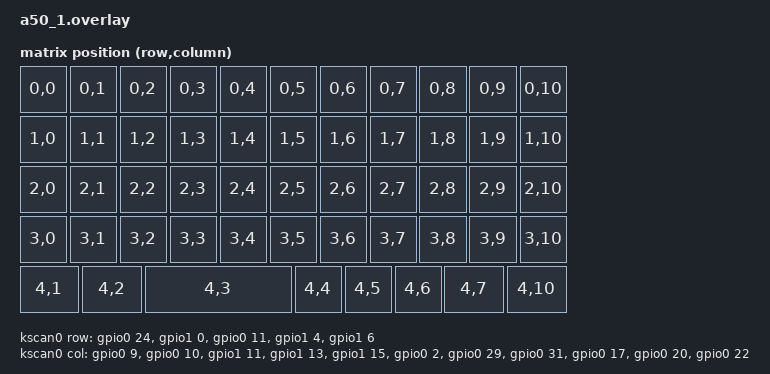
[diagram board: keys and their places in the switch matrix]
/*
 * SPDX-License-Identifier: MIT
 */

#include <dt-bindings/zmk/matrix_transform.h>
#include <physical_layouts.dtsi>

/ {
    chosen {
        zmk,kscan = &kscan0;
        zmk,physical-layout = &a50_1_layout;
    };

    default_transform: keymap_transform_0 {
        compatible = "zmk,matrix-transform";
        columns = <11>;
        rows = <5>;
        map = <
            RC(0,0) RC(0,1) RC(0,2) RC(0,3) RC(0,4) RC(0,5) RC(0,6) RC(0,7) RC(0,8) RC(0,9) RC(0,10)
            RC(1,0) RC(1,1) RC(1,2) RC(1,3) RC(1,4) RC(1,5) RC(1,6) RC(1,7) RC(1,8) RC(1,9) RC(1,10)
            RC(2,0) RC(2,1) RC(2,2) RC(2,3) RC(2,4) RC(2,5) RC(2,6) RC(2,7) RC(2,8) RC(2,9) RC(2,10)
            RC(3,0) RC(3,1) RC(3,2) RC(3,3) RC(3,4) RC(3,5) RC(3,6) RC(3,7) RC(3,8) RC(3,9) RC(3,10)
                    RC(4,1) RC(4,2) RC(4,3) RC(4,4) RC(4,5) RC(4,6) RC(4,7)                 RC(4,10)
        >;
    };

    a50_1_layout: a50_1_layout {
        compatible = "zmk,physical-layout";
        display-name = "A50-1";
        transform = <&default_transform>;

        keys
            = <&key_physical_attrs 100 100    0    0       0     0     0>
            , <&key_physical_attrs 100 100  100    0       0     0     0>
            , <&key_physical_attrs 100 100  200    0       0     0     0>
            , <&key_physical_attrs 100 100  300    0       0     0     0>
            , <&key_physical_attrs 100 100  400    0       0     0     0>
            , <&key_physical_attrs 100 100  500    0       0     0     0>
            , <&key_physical_attrs 100 100  600    0       0     0     0>
            , <&key_physical_attrs 100 100  700    0       0     0     0>
            , <&key_physical_attrs 100 100  800    0       0     0     0>
            , <&key_physical_attrs 100 100  900    0       0     0     0>
            , <&key_physical_attrs 100 100 1000    0       0     0     0>

            , <&key_physical_attrs 100 100    0  100       0     0     0>
            , <&key_physical_attrs 100 100  100  100       0     0     0>
            , <&key_physical_attrs 100 100  200  100       0     0     0>
            , <&key_physical_attrs 100 100  300  100       0     0     0>
            , <&key_physical_attrs 100 100  400  100       0     0     0>
            , <&key_physical_attrs 100 100  500  100       0     0     0>
            , <&key_physical_attrs 100 100  600  100       0     0     0>
            , <&key_physical_attrs 100 100  700  100       0     0     0>
            , <&key_physical_attrs 100 100  800  100       0     0     0>
            , <&key_physical_attrs 100 100  900  100       0     0     0>
            , <&key_physical_attrs 100 100 1000  100       0     0     0>

            , <&key_physical_attrs 100 100    0  200       0     0     0>
            , <&key_physical_attrs 100 100  100  200       0     0     0>
            , <&key_physical_attrs 100 100  200  200       0     0     0>
            , <&key_physical_attrs 100 100  300  200       0     0     0>
            , <&key_physical_attrs 100 100  400  200       0     0     0>
            , <&key_physical_attrs 100 100  500  200       0     0     0>
            , <&key_physical_attrs 100 100  600  200       0     0     0>
            , <&key_physical_attrs 100 100  700  200       0     0     0>
            , <&key_physical_attrs 100 100  800  200       0     0     0>
            , <&key_physical_attrs 100 100  900  200       0     0     0>
            , <&key_physical_attrs 100 100 1000  200       0     0     0>

            , <&key_physical_attrs 100 100    0  300       0     0     0>
            , <&key_physical_attrs 100 100  100  300       0     0     0>
            , <&key_physical_attrs 100 100  200  300       0     0     0>
            , <&key_physical_attrs 100 100  300  300       0     0     0>
            , <&key_physical_attrs 100 100  400  300       0     0     0>
            , <&key_physical_attrs 100 100  500  300       0     0     0>
            , <&key_physical_attrs 100 100  600  300       0     0     0>
            , <&key_physical_attrs 100 100  700  300       0     0     0>
            , <&key_physical_attrs 100 100  800  300       0     0     0>
            , <&key_physical_attrs 100 100  900  300       0     0     0>
            , <&key_physical_attrs 100 100 1000  300       0     0     0>

            , <&key_physical_attrs 125 100    0  400       0     0     0>
            , <&key_physical_attrs 125 100  125  400       0     0     0>
            , <&key_physical_attrs 300 100  250  400       0     0     0>
            , <&key_physical_attrs 100 100  550  400       0     0     0>
            , <&key_physical_attrs 100 100  650  400       0     0     0>
            , <&key_physical_attrs 100 100  750  400       0     0     0>
            , <&key_physical_attrs 125 100  850  400       0     0     0>
            , <&key_physical_attrs 125 100  975  400       0     0     0>
            ;
    };

    kscan0: kscan {
        compatible = "zmk,kscan-gpio-matrix";
        wakeup-source;

        diode-direction = "row2col";
        row-gpios
            = <&gpio0 24 (GPIO_ACTIVE_HIGH | GPIO_PULL_DOWN)> /* P0.24 */
            , <&gpio1 0 (GPIO_ACTIVE_HIGH | GPIO_PULL_DOWN)>  /* P1.00 */
            , <&gpio0 11 (GPIO_ACTIVE_HIGH | GPIO_PULL_DOWN)> /* P0.11 */
            , <&gpio1 4 (GPIO_ACTIVE_HIGH | GPIO_PULL_DOWN)>  /* P1.04 */
            , <&gpio1 6 (GPIO_ACTIVE_HIGH | GPIO_PULL_DOWN)>  /* P1.06 */
            ;
        col-gpios
            = <&gpio0 9 GPIO_ACTIVE_HIGH>   /* P0.09 */
            , <&gpio0 10 GPIO_ACTIVE_HIGH>  /* P0.10 */
            , <&gpio1 11 GPIO_ACTIVE_HIGH>  /* P1.11 */
            , <&gpio1 13 GPIO_ACTIVE_HIGH>  /* P1.13 */
            , <&gpio1 15 GPIO_ACTIVE_HIGH>  /* P1.15 */
            , <&gpio0 2 GPIO_ACTIVE_HIGH>   /* P0.02 */
            , <&gpio0 29 GPIO_ACTIVE_HIGH>  /* P0.29 */
            , <&gpio0 31 GPIO_ACTIVE_HIGH>  /* P0.31 */
            , <&gpio0 17 GPIO_ACTIVE_HIGH>  /* P0.17 */
            , <&gpio0 20 GPIO_ACTIVE_HIGH>  /* P0.20 */
            , <&gpio0 22 GPIO_ACTIVE_HIGH>  /* P0.22 */
            ;
    };
};
